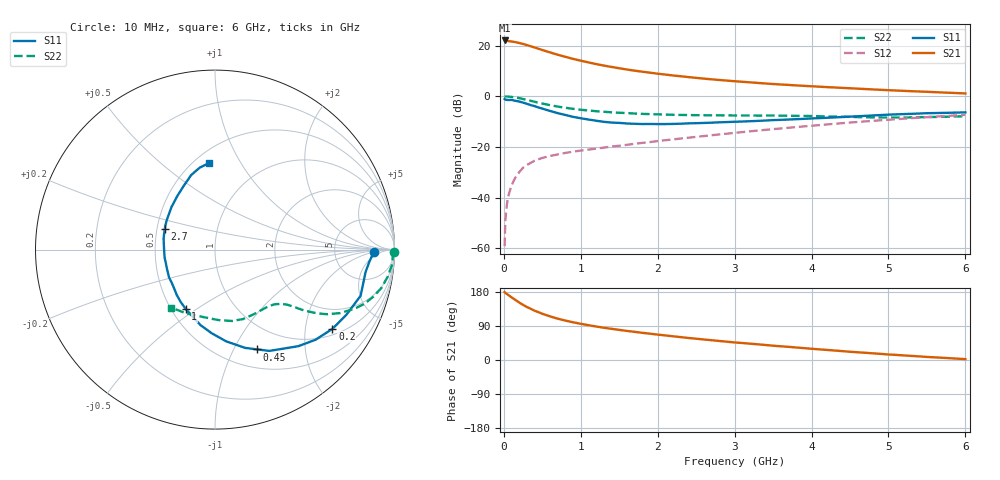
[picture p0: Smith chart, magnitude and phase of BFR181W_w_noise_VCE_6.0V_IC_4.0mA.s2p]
! Infineon Technologies  Discrete & RF Semiconductors
! BFR181W
! VCE =  6.0 V,  IC =  4.0 mA
! Common Emitter S-Parameters:  Jan 2017
# GHz  S  MA  R  50
!  f  S11  S21  S12  S22
! GHz  MAG  ANG  MAG  ANG  MAG  ANG  MAG  ANG
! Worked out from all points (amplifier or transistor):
!   77 points, 10 MHz to 6 GHz, reference 50 ohm
!   highest |S21| = 22.1 dB at 10 MHz (marker M1)
!   |S21| within 3 dB of that: start of sweep to 423 MHz
!   unconditionally stable (mu >= 1): 1.477 GHz to 3.5 GHz
!   at 130 MHz: K = 0.14, MSG = 27.4 dB, |S12| = -33.2 dB
!   at 2.2 GHz: K = 1.08, MAG = 10.9 dB, |S12| = -17.0 dB
!   at 6 GHz: K = 0.85, MSG = 4.2 dB, |S12| = -7.3 dB
!   lowest NFmin = 0.92 dB at 450 MHz
!   S11 on the Smith chart (normalised r, x): 10 MHz: 16, -2; 200 MHz: 1.20, -2.81; 450 MHz: 0.71, -1.24; 1 GHz: 0.59, -0.45; 2.7 GHz: 0.55, +0.14; 6 GHz: 0.59, +0.74
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0.01  0.8847 -0.9  12.69 179.2  0.0011 92.7  0.9989 -0.9
0.02  0.8615 -4.7  12.45 176.9  0.0036 105.7  0.9901 -1.6
0.05  0.8481 -8.5  12.38 172.7  0.0093 84.3  0.992 -4.4
0.15  0.8167 -26.5  11.77 158.5  0.025 76.2  0.9514 -13.0
0.2  0.7895 -34.0  11.3 151.6  0.0318 72.7  0.9199 -16.6
0.25  0.7523 -41.9  10.83 145.4  0.0389 68.1  0.8861 -19.9
0.3  0.7107 -49.2  10.27 139.8  0.044 65.1  0.8494 -22.6
0.4  0.6404 -61.8  9.229 130.0  0.0535 60.5  0.7818 -26.9
0.45  0.6036 -67.1  8.702 126.2  0.0571 58.7  0.7507 -28.4
0.5  0.5725 -73.0  8.217 122.0  0.0608 57.1  0.7201 -30.0
0.6  0.5147 -83.1  7.372 115.1  0.0664 55.2  0.6697 -32.0
0.7  0.4662 -92.3  6.631 109.1  0.0713 54.0  0.6278 -33.4
0.8  0.4286 -100.8  6.027 104.0  0.0764 53.8  0.5939 -34.5
1  0.369 -116.2  5.057 95.5  0.085 53.5  0.5434 -35.9
1.1  0.3487 -123.3  4.672 91.9  0.0888 53.8  0.525 -36.6
1.5  0.2991 -149.0  3.584 79.5  0.1058 55.7  0.4741 -39.5
2.1  0.2835 -179.5  2.689 64.8  0.136 58.3  0.4365 -46.3
2.7  0.302 157.9  2.169 52.2  0.1705 59.5  0.4223 -55.5
3.1  0.3183 146.0  1.938 44.8  0.1967 59.0  0.4182 -61.7
4.1  0.3713 122.9  1.551 28.1  0.2704 55.3  0.4047 -78.6
5.1  0.4406 106.4  1.302 13.4  0.3537 48.4  0.3812 -103.3
6  0.4825 94.2  1.141 2.3  0.4317 40.3  0.4051 -127.2
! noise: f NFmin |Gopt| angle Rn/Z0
0.45  0.92  0.39  16  0.24
0.9  0.97  0.36  31  0.24
1.9  1.4  0.2  79  0.2
2.4  1.56  0.17  94  0.22
